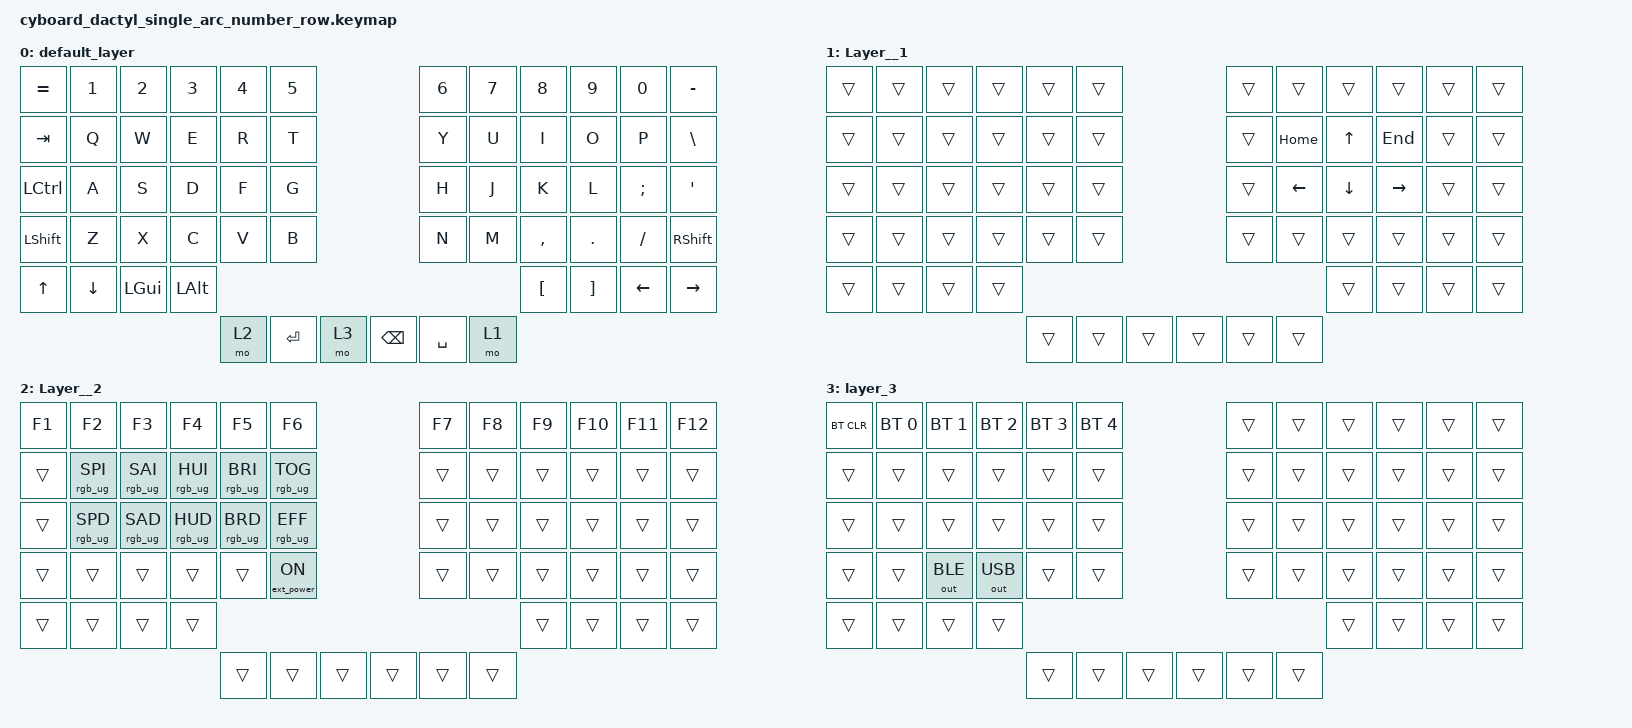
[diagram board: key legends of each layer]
#include <behaviors.dtsi>
#include <dt-bindings/zmk/bt.h>
#include <dt-bindings/zmk/keys.h>
#include <dt-bindings/zmk/outputs.h>
#include <dt-bindings/zmk/rgb.h>
#include <dt-bindings/zmk/ext_power.h>

/ {
    keymap {
        compatible = "zmk,keymap";

        default_layer {
            bindings = <
&kp EQL    &kp N1   &kp N2        &kp N3        &kp N4  &kp N5                            &kp N6     &kp N7  &kp N8     &kp N9   &kp N0    &kp MINUS
&kp TAB    &kp Q    &kp W         &kp E         &kp R   &kp T                             &kp Y      &kp U   &kp I      &kp O    &kp P     &kp BSLH
&kp LCTRL  &kp A    &kp S         &kp D         &kp F   &kp G                             &kp H      &kp J   &kp K      &kp L    &kp SEMI  &kp SQT
&kp LSHFT  &kp Z    &kp X         &kp C         &kp V   &kp B                             &kp N      &kp M   &kp COMMA  &kp DOT  &kp FSLH  &kp RSHFT
&kp UP     &kp DOWN &kp LGUI      &kp LALT                                                                   &kp LBKT   &kp RBKT &kp LEFT  &kp RIGHT
                                                &mo 2 &kp ENTER  &mo 3      &kp BACKSPACE &kp SPACE  &mo 1
            >;
        };

        Layer__1 {
            bindings = <
&trans     &trans    &trans  &trans   &trans  &trans                               &trans  &trans   &trans   &trans    &trans &trans
&trans     &trans    &trans  &trans   &trans  &trans                               &trans  &kp HOME &kp UP   &kp END   &trans &trans
&trans     &trans    &trans  &trans   &trans  &trans                               &trans  &kp LEFT &kp DOWN &kp RIGHT &trans &trans    
&trans     &trans    &trans  &trans   &trans  &trans                               &trans  &trans   &trans   &trans    &trans &trans
&trans     &trans    &trans  &trans                                                                 &trans   &trans    &trans &trans
                                            &trans  &trans &trans     &trans &trans &trans
            >;
        };

        Layer__2 {
            bindings = <
&kp F1  &kp F2           &kp F3           &kp F4           &kp F5           &kp F6                              &kp F7  &kp F8  &kp F9  &kp F10  &kp F11  &kp F12
&trans  &rgb_ug RGB_SPI  &rgb_ug RGB_SAI  &rgb_ug RGB_HUI  &rgb_ug RGB_BRI  &rgb_ug RGB_TOG                     &trans  &trans  &trans  &trans   &trans   &trans
&trans  &rgb_ug RGB_SPD  &rgb_ug RGB_SAD  &rgb_ug RGB_HUD  &rgb_ug RGB_BRD  &rgb_ug RGB_EFF                     &trans  &trans  &trans  &trans   &trans   &trans
&trans  &trans           &trans           &trans           &trans           &ext_power EP_ON                           &trans  &trans  &trans  &trans   &trans   &trans
&trans  &trans           &trans           &trans                                                                                &trans  &trans   &trans   &trans
                                                                            &trans  &trans &trans     &trans &trans &trans
            >;
        };

        layer_3 {
            bindings = <
&bt BT_CLR  &bt BT_SEL 0  &bt BT_SEL 1   &bt BT_SEL 2  &bt BT_SEL 3  &bt BT_SEL 4                           &trans  &trans  &trans  &trans  &trans  &trans
&trans      &trans        &trans         &trans        &trans        &trans                                 &trans  &trans  &trans  &trans  &trans  &trans
&trans      &trans        &trans         &trans        &trans        &trans                                 &trans  &trans  &trans  &trans  &trans  &trans
&trans      &trans        &out OUT_BLE   &out OUT_USB  &trans        &trans                                 &trans  &trans  &trans  &trans  &trans  &trans
&trans      &trans        &trans         &trans                                                                             &trans  &trans  &trans  &trans
                                                                        &trans  &trans &trans     &trans &trans &trans
            >;
        };
    };
};
